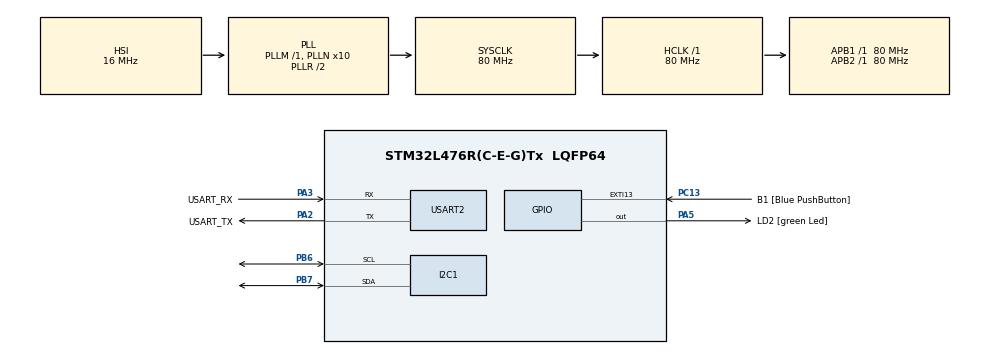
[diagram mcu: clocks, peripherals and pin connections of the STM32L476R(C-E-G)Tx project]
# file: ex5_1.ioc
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I2C1.Timing=0x10909CEC
Mcu.Family=STM32L4
Mcu.Name=STM32L476R(C-E-G)Tx
Mcu.Package=LQFP64
NVIC.PriorityGroup=NVIC_PRIORITYGROUP_4
PA13\ (JTMS-SWDIO).GPIO_Label=TMS
PA13\ (JTMS-SWDIO).Mode=Serial_Wire
PA13\ (JTMS-SWDIO).Signal=SYS_JTMS-SWDIO
PA14\ (JTCK-SWCLK).GPIO_Label=TCK
PA14\ (JTCK-SWCLK).Mode=Serial_Wire
PA14\ (JTCK-SWCLK).Signal=SYS_JTCK-SWCLK
PA2.GPIO_Label=USART_TX
PA2.GPIO_Mode=GPIO_MODE_AF_PP
PA2.GPIO_PuPd=GPIO_NOPULL
PA2.GPIO_Speed=GPIO_SPEED_FREQ_VERY_HIGH
PA2.Mode=Asynchronous
PA2.Signal=USART2_TX
PA3.GPIO_Label=USART_RX
PA3.GPIO_Mode=GPIO_MODE_AF_PP
PA3.GPIO_PuPd=GPIO_NOPULL
PA3.GPIO_Speed=GPIO_SPEED_FREQ_VERY_HIGH
PA3.Mode=Asynchronous
PA3.Signal=USART2_RX
PA5.GPIO_Label=LD2 [green Led]
PA5.GPIO_ModeDefaultOutputPP=GPIO_MODE_OUTPUT_PP
PA5.GPIO_PuPd=GPIO_NOPULL
PA5.GPIO_Speed=GPIO_SPEED_FREQ_LOW
PA5.Signal=GPIO_Output
PB3\ (JTDO-TRACESWO).GPIO_Label=SWO
PB3\ (JTDO-TRACESWO).Signal=SYS_JTDO-SWO
PB6.Mode=I2C
PB6.Signal=I2C1_SCL
PB7.Mode=I2C
PB7.Signal=I2C1_SDA
PC13.GPIO_Label=B1 [Blue PushButton]
PC13.GPIO_ModeDefaultEXTI=GPIO_MODE_IT_FALLING
PC13.GPIO_PuPd=GPIO_NOPULL
PC13.Signal=GPXTI13
PC14-OSC32_IN\ (PC14).Mode=LSE-External-Oscillator
PC14-OSC32_IN\ (PC14).Signal=RCC_OSC32_IN
PC15-OSC32_OUT\ (PC15).Mode=LSE-External-Oscillator
PC15-OSC32_OUT\ (PC15).Signal=RCC_OSC32_OUT
PH0-OSC_IN\ (PH0).Signal=RCC_OSC_IN
PH1-OSC_OUT\ (PH1).Signal=RCC_OSC_OUT
ProjectManager.HeapSize=0x200
ProjectManager.StackSize=0x400
ProjectManager.TargetToolchain=STM32CubeIDE
RCC.ADCFreq_Value=64000000
RCC.AHBFreq_Value=80000000
RCC.APB1Freq_Value=80000000
RCC.APB1TimFreq_Value=80000000
RCC.APB2Freq_Value=80000000
RCC.APB2TimFreq_Value=80000000
RCC.CortexFreq_Value=80000000
RCC.HCLKFreq_Value=80000000
RCC.HSE_VALUE=8000000
RCC.HSI_VALUE=16000000
RCC.MSI_VALUE=4000000
RCC.PLLN=10
RCC.PLLSourceVirtual=RCC_PLLSOURCE_HSI
RCC.PREFETCH_ENABLE=1
RCC.SYSCLKFreq_VALUE=80000000
RCC.SYSCLKSource=RCC_SYSCLKSOURCE_PLLCLK
RCC.USBFreq_Value=64000000
RCC.VCOOutputFreq_Value=160000000
USART2.VirtualMode-Asynchronous=VM_ASYNC
board=NUCLEO-L476RG

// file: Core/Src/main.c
/* USER CODE BEGIN Header */
/**
  ******************************************************************************
  * @file           : main.c
  * @brief          : Main program body
  ******************************************************************************
  * @attention
  *
  * <h2><center>&copy; Copyright (c) 2021 STMicroelectronics.
  * All rights reserved.</center></h2>
  *
  * This software component is licensed by ST under BSD 3-Clause license,
  * the "License"; You may not use this file except in compliance with the
  * License. You may obtain a copy of the License at:
  *                        opensource.org/licenses/BSD-3-Clause
  *
  ******************************************************************************
  */
/* USER CODE END Header */
#include "main.h"

/* USER CODE BEGIN PD */
#define MAGNETO_ADDR 				0x3c //  żaden adres nie działa, nie udało się połączyć ani z akcelerometrem ani z magnetometrem

//control defines
#define LSM303D_STATUS_M			0x07
#define LSM303D_WHO_AM_I			0x0f
#define LSM303D_CTRL0				0x1f
#define LSM303D_CTRL1				0x20
#define LSM303D_CTRL2				0x21
#define LSM303D_CTRL3				0x22
#define LSM303D_CTRL4				0x23
#define LSM303D_CTRL5				0x24
#define LSM303D_CTRL6				0x25
#define LSM303D_CTRL7				0x26
#define LSM303D_STATUS				0x27

//magnetometer regs
#define MAGNETO_OUT_X_L 			0x08
#define MAGNETO_OUT_X_H 			0x09
#define MAGNETO_OUT_Y_L 			0x0a
#define MAGNETO_OUT_Y_H 			0x0b
#define MAGNETO_OUT_Z_L 			0x0c
#define MAGNETO_OUT_Z_H 			0x0d
/* USER CODE END PD */

I2C_HandleTypeDef hi2c1;

UART_HandleTypeDef huart2;

void SystemClock_Config(void);
static void MX_GPIO_Init(void);
static void MX_USART2_UART_Init(void);
static void MX_I2C1_Init(void);

/* USER CODE BEGIN 0 */
int _write(int file, uint8_t *ptr, int len){
	HAL_UART_Transmit(&huart2, ptr, len, 100);
	return  len;
};

uint8_t reg_read(uint8_t reg) // reads from register
{
	uint8_t val = 0;
	HAL_I2C_Mem_Read(&hi2c1, MAGNETO_ADDR, reg, 1, &val, sizeof(val), HAL_MAX_DELAY);
	return val;
}

void reg_write(uint8_t reg, uint8_t val) // write value to register
{
	HAL_I2C_Mem_Read(&hi2c1, MAGNETO_ADDR, reg, 1, &val, sizeof(val), HAL_MAX_DELAY);
}

uint8_t magneto_read(uint8_t reg)  // read register from magnetometer
{
	uint8_t val = 0;
	HAL_I2C_Mem_Read(&hi2c1, MAGNETO_ADDR, reg | 0x80, 1, (uint8_t*)&val, sizeof(val), HAL_MAX_DELAY);
	return val;
}
/* USER CODE END 0 */

int main(void)
{

  /* MCU Configuration--------------------------------------------------------*/

  /* Reset of all peripherals, Initializes the Flash interface and the Systick. */
  HAL_Init();

  /* Configure the system clock */
  SystemClock_Config();

  /* Initialize all configured peripherals */
  MX_GPIO_Init();
  MX_USART2_UART_Init();
  MX_I2C1_Init();
  /* USER CODE BEGIN 2 */

  uint8_t who_am_i = reg_read(LSM303D_WHO_AM_I);
  if (who_am_i == 0x49){
	  printf("Sensor OK\r\n");
  }
  else {
	  printf("Fail, adress (0x%02X) \r\n", who_am_i); //pokazuje 0x00
  }

  reg_write(LSM303D_CTRL7, 0x00|0x00); //turn on magnetometer

  HAL_Delay(100); //wait to turn on
  /* USER CODE END 2 */

  /* Infinite loop */
  while (1)
  {

    /* USER CODE BEGIN 3 */
	  int16_t magx = magneto_read(MAGNETO_OUT_X_L);
	  int16_t magy = magneto_read(MAGNETO_OUT_Y_L);
	  int16_t magz = magneto_read(MAGNETO_OUT_Z_L);
	  printf("Magnetometer: X: %d, Y: %d, Z: %d \n\r", magx, magy, magz);
	  HAL_Delay(1000); //delay reads
  }
  /* USER CODE END 3 */
}

void SystemClock_Config(void)
{
  RCC_OscInitTypeDef RCC_OscInitStruct = {0};
  RCC_ClkInitTypeDef RCC_ClkInitStruct = {0};
  RCC_PeriphCLKInitTypeDef PeriphClkInit = {0};

  /** Initializes the RCC Oscillators according to the specified parameters
  * in the RCC_OscInitTypeDef structure.
  */
  RCC_OscInitStruct.OscillatorType = RCC_OSCILLATORTYPE_HSI;
  RCC_OscInitStruct.HSIState = RCC_HSI_ON;
  RCC_OscInitStruct.HSICalibrationValue = RCC_HSICALIBRATION_DEFAULT;
  RCC_OscInitStruct.PLL.PLLState = RCC_PLL_ON;
  RCC_OscInitStruct.PLL.PLLSource = RCC_PLLSOURCE_HSI;
  RCC_OscInitStruct.PLL.PLLM = 1;
  RCC_OscInitStruct.PLL.PLLN = 10;
  RCC_OscInitStruct.PLL.PLLP = RCC_PLLP_DIV7;
  RCC_OscInitStruct.PLL.PLLQ = RCC_PLLQ_DIV2;
  RCC_OscInitStruct.PLL.PLLR = RCC_PLLR_DIV2;
  if (HAL_RCC_OscConfig(&RCC_OscInitStruct) != HAL_OK)
  {
    Error_Handler();
  }
  /** Initializes the CPU, AHB and APB buses clocks
  */
  RCC_ClkInitStruct.ClockType = RCC_CLOCKTYPE_HCLK|RCC_CLOCKTYPE_SYSCLK
                              |RCC_CLOCKTYPE_PCLK1|RCC_CLOCKTYPE_PCLK2;
  RCC_ClkInitStruct.SYSCLKSource = RCC_SYSCLKSOURCE_PLLCLK;
  RCC_ClkInitStruct.AHBCLKDivider = RCC_SYSCLK_DIV1;
  RCC_ClkInitStruct.APB1CLKDivider = RCC_HCLK_DIV1;
  RCC_ClkInitStruct.APB2CLKDivider = RCC_HCLK_DIV1;

  if (HAL_RCC_ClockConfig(&RCC_ClkInitStruct, FLASH_LATENCY_4) != HAL_OK)
  {
    Error_Handler();
  }
  PeriphClkInit.PeriphClockSelection = RCC_PERIPHCLK_USART2|RCC_PERIPHCLK_I2C1;
  PeriphClkInit.Usart2ClockSelection = RCC_USART2CLKSOURCE_PCLK1;
  PeriphClkInit.I2c1ClockSelection = RCC_I2C1CLKSOURCE_PCLK1;
  if (HAL_RCCEx_PeriphCLKConfig(&PeriphClkInit) != HAL_OK)
  {
    Error_Handler();
  }
  /** Configure the main internal regulator output voltage
  */
  if (HAL_PWREx_ControlVoltageScaling(PWR_REGULATOR_VOLTAGE_SCALE1) != HAL_OK)
  {
    Error_Handler();
  }
}

static void MX_I2C1_Init(void)
{

  hi2c1.Instance = I2C1;
  hi2c1.Init.Timing = 0x10909CEC;
  hi2c1.Init.OwnAddress1 = 0;
  hi2c1.Init.AddressingMode = I2C_ADDRESSINGMODE_7BIT;
  hi2c1.Init.DualAddressMode = I2C_DUALADDRESS_DISABLE;
  hi2c1.Init.OwnAddress2 = 0;
  hi2c1.Init.OwnAddress2Masks = I2C_OA2_NOMASK;
  hi2c1.Init.GeneralCallMode = I2C_GENERALCALL_DISABLE;
  hi2c1.Init.NoStretchMode = I2C_NOSTRETCH_DISABLE;
  if (HAL_I2C_Init(&hi2c1) != HAL_OK)
  {
    Error_Handler();
  }
  /** Configure Analogue filter
  */
  if (HAL_I2CEx_ConfigAnalogFilter(&hi2c1, I2C_ANALOGFILTER_ENABLE) != HAL_OK)
  {
    Error_Handler();
  }
  /** Configure Digital filter
  */
  if (HAL_I2CEx_ConfigDigitalFilter(&hi2c1, 0) != HAL_OK)
  {
    Error_Handler();
  }

}

static void MX_USART2_UART_Init(void)
{

  huart2.Instance = USART2;
  huart2.Init.BaudRate = 115200;
  huart2.Init.WordLength = UART_WORDLENGTH_8B;
  huart2.Init.StopBits = UART_STOPBITS_1;
  huart2.Init.Parity = UART_PARITY_NONE;
  huart2.Init.Mode = UART_MODE_TX_RX;
  huart2.Init.HwFlowCtl = UART_HWCONTROL_NONE;
  huart2.Init.OverSampling = UART_OVERSAMPLING_16;
  huart2.Init.OneBitSampling = UART_ONE_BIT_SAMPLE_DISABLE;
  huart2.AdvancedInit.AdvFeatureInit = UART_ADVFEATURE_NO_INIT;
  if (HAL_UART_Init(&huart2) != HAL_OK)
  {
    Error_Handler();
  }

}

static void MX_GPIO_Init(void)
{
  GPIO_InitTypeDef GPIO_InitStruct = {0};

  /* GPIO Ports Clock Enable */
  __HAL_RCC_GPIOC_CLK_ENABLE();
  __HAL_RCC_GPIOH_CLK_ENABLE();
  __HAL_RCC_GPIOA_CLK_ENABLE();
  __HAL_RCC_GPIOB_CLK_ENABLE();

  /*Configure GPIO pin Output Level */
  HAL_GPIO_WritePin(LD2_GPIO_Port, LD2_Pin, GPIO_PIN_RESET);

  /*Configure GPIO pin : B1_Pin */
  GPIO_InitStruct.Pin = B1_Pin;
  GPIO_InitStruct.Mode = GPIO_MODE_IT_FALLING;
  GPIO_InitStruct.Pull = GPIO_NOPULL;
  HAL_GPIO_Init(B1_GPIO_Port, &GPIO_InitStruct);

  /*Configure GPIO pin : LD2_Pin */
  GPIO_InitStruct.Pin = LD2_Pin;
  GPIO_InitStruct.Mode = GPIO_MODE_OUTPUT_PP;
  GPIO_InitStruct.Pull = GPIO_NOPULL;
  GPIO_InitStruct.Speed = GPIO_SPEED_FREQ_LOW;
  HAL_GPIO_Init(LD2_GPIO_Port, &GPIO_InitStruct);

}

void Error_Handler(void)
{
}

/************************ (C) COPYRIGHT STMicroelectronics *****END OF FILE****/
